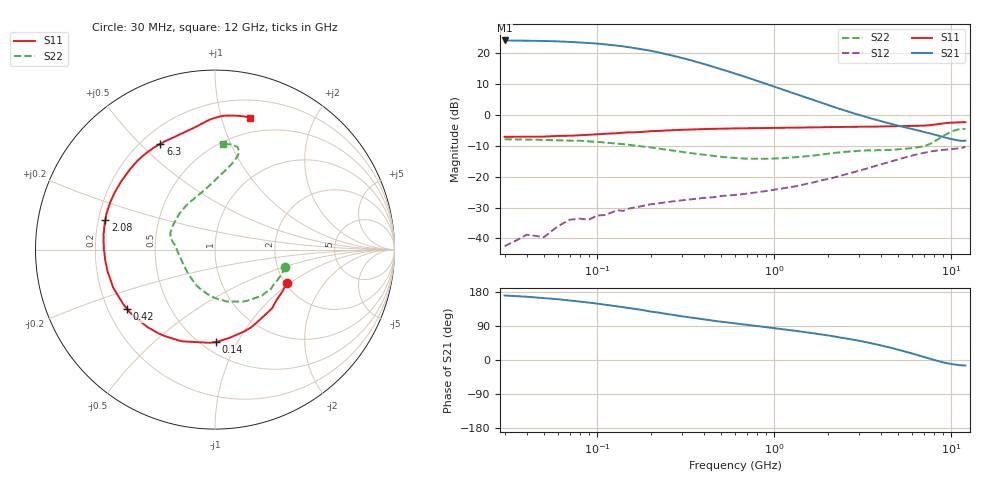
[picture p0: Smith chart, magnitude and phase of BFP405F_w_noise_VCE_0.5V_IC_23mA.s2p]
! (c) 2015  Infineon Technologies AG, Munich
! Infineon Technologies  Discrete & RF Semiconductors
! BFP405F
! VCE =  0.5 V,  IC =  23 mA
! Common Emitter S-Parameters:  Nov 2015
# GHz  S  MA  R  50
!  f  S11  S21  S12  S22
! GHz  MAG  ANG  MAG  ANG  MAG  ANG  MAG  ANG
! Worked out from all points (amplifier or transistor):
!   239 points, 30 MHz to 12 GHz, reference 50 ohm
!   highest |S21| = 24.1 dB at 30 MHz (marker M1)
!   |S21| within 3 dB of that: start of sweep to 185.5 MHz
!   unconditionally stable (mu >= 1): start of sweep to 112.5 MHz; 331.4 MHz to end of sweep
!   at 300 MHz: K = 0.95, MSG = 23.0 dB, |S12| = -27.7 dB
!   at 1.88 GHz: K = 2.28, MAG = 6.1 dB, |S12| = -21.1 dB
!   at 12 GHz: K = 1.70, MAG = -3.9 dB, |S12| = -10.4 dB
!   lowest NFmin = 2.38 dB at 450 MHz
!   S11 on the Smith chart (normalised r, x): 30 MHz: 2.05, -0.94; 140 MHz: 0.58, -0.82; 420 MHz: 0.28, -0.28; 2.08 GHz: 0.23, +0.13; 6.3 GHz: 0.27, +0.58; 12 GHz: 0.36, +1.23
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0.03  0.4413 -24.6  15.97 170.2  0.0075 49.6  0.4022 -13.6
0.04  0.4423 -32.1  15.86 167.0  0.0115 74.3  0.3987 -17.7
0.055  0.4497 -43.0  15.56 161.8  0.013 76.0  0.3896 -24.2
0.065  0.4566 -49.6  15.29 158.7  0.0179 67.7  0.383 -29.2
0.085  0.4719 -62.4  14.68 152.8  0.0205 64.2  0.3762 -37.8
0.105  0.4865 -73.3  14.04 147.5  0.0237 62.0  0.3617 -46.0
0.14  0.5154 -89.5  12.84 139.3  0.0279 52.7  0.3361 -58.3
0.175  0.5266 -102.0  11.63 132.9  0.033 50.4  0.3101 -69.0
0.2  0.5439 -110.1  10.89 127.9  0.0357 48.5  0.2973 -76.8
0.24  0.5564 -119.7  9.736 122.5  0.0382 44.2  0.2764 -86.3
0.3  0.5726 -131.1  8.342 115.4  0.0414 39.7  0.2517 -99.4
0.42  0.5912 -146.0  6.388 105.9  0.0457 38.8  0.2228 -118.1
0.5  0.5969 -153.0  5.47 101.1  0.0486 38.2  0.2093 -128.2
0.6  0.6057 -159.5  4.641 96.5  0.0505 38.9  0.2008 -138.0
0.8  0.6109 -168.5  3.536 89.5  0.0561 39.8  0.1947 -153.1
1  0.6152 -174.9  2.852 84.0  0.0616 42.0  0.1972 -164.1
1.64  0.6271 171.6  1.76 71.0  0.08 45.8  0.2185 176.7
2.08  0.6334 164.9  1.397 63.7  0.0937 46.2  0.2374 169.9
4.5  0.6518 136.4  0.723 32.8  0.1743 38.3  0.2707 146.9
6.3  0.6635 117.3  0.57 14.2  0.2268 26.3  0.2959 120.9
10  0.7471 86.4  0.406 -10.6  0.279 2.1  0.5332 76.5
12  0.7589 75.3  0.382 -14.5  0.3036 -3.6  0.5905 85.5
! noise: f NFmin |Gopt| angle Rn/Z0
0.45  2.38  0.02  -151  0.44
0.9  2.41  0.04  -143  0.29
1.5  2.48  0.07  -134  0.34
1.9  2.55  0.09  -131  0.43
2.4  2.73  0.1  -127  0.19
3  2.85  0.11  -124  0.2
3.5  2.94  0.12  -121  0.31
4.5  3.22  0.17  -107  0.53
5.5  3.59  0.31  -88  0.51
